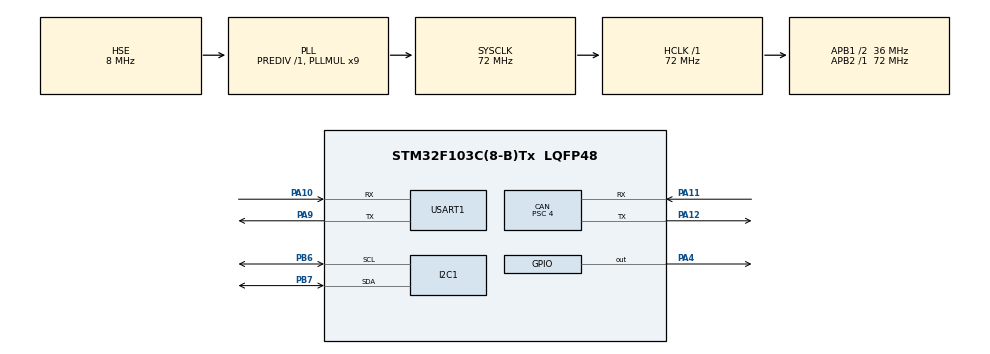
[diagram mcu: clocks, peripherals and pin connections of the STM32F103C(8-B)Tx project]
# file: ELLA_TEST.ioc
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CAN.BS1=CAN_BS1_15TQ
CAN.BS2=CAN_BS2_2TQ
CAN.CalculateBaudRate=500000
CAN.CalculateTimeBit=2000
CAN.CalculateTimeQuantum=111.11111111111111
CAN.Mode=CAN_MODE_NORMAL
CAN.NART=ENABLE
CAN.Prescaler=4
Mcu.Family=STM32F1
Mcu.Name=STM32F103C(8-B)Tx
Mcu.Package=LQFP48
NVIC.PriorityGroup=NVIC_PRIORITYGROUP_4
NVIC.USB_LP_CAN1_RX0_IRQn=true\:0\:0\:false\:false\:true\:true\:true\:true
PA10.Mode=Asynchronous
PA10.Signal=USART1_RX
PA11.Mode=CAN_Activate
PA11.Signal=CAN_RX
PA12.Mode=CAN_Activate
PA12.Signal=CAN_TX
PA13.Mode=Serial_Wire
PA13.Signal=SYS_JTMS-SWDIO
PA14.Mode=Serial_Wire
PA14.Signal=SYS_JTCK-SWCLK
PA4.Signal=GPIO_Output
PA9.Mode=Asynchronous
PA9.Signal=USART1_TX
PB10.Signal=I2C2_SCL
PB11.Signal=I2C2_SDA
PB6.Mode=I2C
PB6.Signal=I2C1_SCL
PB7.Mode=I2C
PB7.Signal=I2C1_SDA
PD0-OSC_IN.Mode=HSE-External-Oscillator
PD0-OSC_IN.Signal=RCC_OSC_IN
PD1-OSC_OUT.Mode=HSE-External-Oscillator
PD1-OSC_OUT.Signal=RCC_OSC_OUT
ProjectManager.HeapSize=0x200
ProjectManager.StackSize=0x400
ProjectManager.TargetToolchain=STM32CubeIDE
RCC.AHBFreq_Value=72000000
RCC.APB1CLKDivider=RCC_HCLK_DIV2
RCC.APB1Freq_Value=36000000
RCC.APB1TimFreq_Value=72000000
RCC.APB2Freq_Value=72000000
RCC.APB2TimFreq_Value=72000000
RCC.HCLKFreq_Value=72000000
RCC.PLLMUL=RCC_PLL_MUL9
RCC.PLLSourceVirtual=RCC_PLLSOURCE_HSE
RCC.SYSCLKFreq_VALUE=72000000
RCC.SYSCLKSource=RCC_SYSCLKSOURCE_PLLCLK
RCC.USBFreq_Value=72000000
USART1.VirtualMode=VM_ASYNC
board=custom

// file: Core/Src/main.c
/* USER CODE BEGIN Header */
/**
 ******************************************************************************
 * @file           : main.c
 * @brief          : Main program body
 ******************************************************************************
 * @attention
 *
 * Copyright (c) 2025 STMicroelectronics.
 * All rights reserved.
 *
 * This software is licensed under terms that can be found in the LICENSE file
 * in the root directory of this software component.
 * If no LICENSE file comes with this software, it is provided AS-IS.
 *
 ******************************************************************************
 */
/* USER CODE END Header */
#include "main.h"

/* USER CODE BEGIN Includes */
#include <string.h>
#include <stdio.h>
#include "MS4525DO.h"
/* USER CODE END Includes */

/* USER CODE BEGIN PD */
#define VERBOSE_MODE_EN
#define MCU_LED GPIOA, GPIO_PIN_4
/* USER CODE END PD */

CAN_HandleTypeDef hcan;

I2C_HandleTypeDef hi2c1;

UART_HandleTypeDef huart1;

/* USER CODE BEGIN PV */
CAN_TxHeaderTypeDef   TxHeader;
uint8_t               TxData[8];
uint32_t              TxMailbox;
/* USER CODE END PV */

void SystemClock_Config(void);
static void MX_GPIO_Init(void);
static void MX_CAN_Init(void);
static void MX_I2C1_Init(void);
static void MX_USART1_UART_Init(void);
/* USER CODE BEGIN PFP */
void I2C_Scan();
void HAL_CAN_RxFifo0MsgPendingCallback(CAN_HandleTypeDef *hcan);
/* USER CODE END PFP */

int main(void)
{

  /* MCU Configuration--------------------------------------------------------*/

  /* Reset of all peripherals, Initializes the Flash interface and the Systick. */
  HAL_Init();

  /* Configure the system clock */
  SystemClock_Config();

  /* Initialize all configured peripherals */
  MX_GPIO_Init();
  MX_CAN_Init();
  MX_I2C1_Init();
  MX_USART1_UART_Init();
  /* USER CODE BEGIN 2 */
  //printf("Initializing....\r\n");
  //struct MS4525DO_t MS4525DO;
  //MS4525DO_Initialize(&MS4525DO, &hi2c1, &hcan, &TxHeader);
  //printf("Initialized!\r\n");

  TxHeader.IDE = CAN_ID_STD;
  TxHeader.StdId = 0x123;  // Message ID
  TxHeader.RTR = CAN_RTR_DATA;
  TxHeader.DLC = 2;  // 2 bytes of data

  TxData[0] = 69;
  TxData[1] = 0xAA;

  // Start CAN
  if (HAL_CAN_Start(&hcan) != HAL_OK) {
	  printf("❌ Error starting CAN\r\n");
      Error_Handler();
  }

  // Enable interrupt for receiving messages
  HAL_CAN_ActivateNotification(&hcan, CAN_IT_RX_FIFO0_MSG_PENDING);

  printf("✅ CAN Initialized\r\n");
  /* USER CODE END 2 */

  /* Infinite loop */
  /* USER CODE BEGIN WHILE */
	while (1) {
		//printf("Reading sensor data....\r\n");
		//read_MS4525DO(&MS4525DO);
		//int airspeed_scaled = (int)(MS4525DO.processed_data.airspeed_mps * 100);  // Store value * 100
		//printf("Airspeed: %d.%02d m/s\r\n", airspeed_scaled / 100, airspeed_scaled % 100); //not a good way to print
		//HAL_Delay(1000);
		HAL_GPIO_TogglePin(MCU_LED);

		printf("Free Mailboxes: %d\r\n", HAL_CAN_GetTxMailboxesFreeLevel(&hcan));

		//SET TRUE FOR SENDING
		if (1==0){
			if (HAL_CAN_AddTxMessage(&hcan, &TxHeader, TxData, &TxMailbox) != HAL_OK) {
				printf("❌ Error sending CAN message\r\n");
				Error_Handler();
			} else {
				printf("✅ CAN message sent: ID=0x%lX, Data=%d %02X\r\n", TxHeader.StdId, TxData[0], TxData[1]);
			}
		}

        HAL_Delay(1000);  // 1 second delay

	  //txCAN(&MS4525DO);
		//printf("Yummlly\r\n");
    /* USER CODE END WHILE */

	}
}

void SystemClock_Config(void)
{
  RCC_OscInitTypeDef RCC_OscInitStruct = {0};
  RCC_ClkInitTypeDef RCC_ClkInitStruct = {0};

  /** Initializes the RCC Oscillators according to the specified parameters
  * in the RCC_OscInitTypeDef structure.
  */
  RCC_OscInitStruct.OscillatorType = RCC_OSCILLATORTYPE_HSE;
  RCC_OscInitStruct.HSEState = RCC_HSE_ON;
  RCC_OscInitStruct.HSEPredivValue = RCC_HSE_PREDIV_DIV1;
  RCC_OscInitStruct.HSIState = RCC_HSI_ON;
  RCC_OscInitStruct.PLL.PLLState = RCC_PLL_ON;
  RCC_OscInitStruct.PLL.PLLSource = RCC_PLLSOURCE_HSE;
  RCC_OscInitStruct.PLL.PLLMUL = RCC_PLL_MUL9;
  if (HAL_RCC_OscConfig(&RCC_OscInitStruct) != HAL_OK)
  {
    Error_Handler();
  }

  /** Initializes the CPU, AHB and APB buses clocks
  */
  RCC_ClkInitStruct.ClockType = RCC_CLOCKTYPE_HCLK|RCC_CLOCKTYPE_SYSCLK
                              |RCC_CLOCKTYPE_PCLK1|RCC_CLOCKTYPE_PCLK2;
  RCC_ClkInitStruct.SYSCLKSource = RCC_SYSCLKSOURCE_PLLCLK;
  RCC_ClkInitStruct.AHBCLKDivider = RCC_SYSCLK_DIV1;
  RCC_ClkInitStruct.APB1CLKDivider = RCC_HCLK_DIV2;
  RCC_ClkInitStruct.APB2CLKDivider = RCC_HCLK_DIV1;

  if (HAL_RCC_ClockConfig(&RCC_ClkInitStruct, FLASH_LATENCY_2) != HAL_OK)
  {
    Error_Handler();
  }
}

static void MX_CAN_Init(void)
{

  hcan.Instance = CAN1;
  hcan.Init.Prescaler = 4;
  hcan.Init.Mode = CAN_MODE_NORMAL;
  hcan.Init.SyncJumpWidth = CAN_SJW_1TQ;
  hcan.Init.TimeSeg1 = CAN_BS1_15TQ;
  hcan.Init.TimeSeg2 = CAN_BS2_2TQ;
  hcan.Init.TimeTriggeredMode = DISABLE;
  hcan.Init.AutoBusOff = DISABLE;
  hcan.Init.AutoWakeUp = DISABLE;
  hcan.Init.AutoRetransmission = ENABLE;
  hcan.Init.ReceiveFifoLocked = DISABLE;
  hcan.Init.TransmitFifoPriority = DISABLE;
  if (HAL_CAN_Init(&hcan) != HAL_OK)
  {
    Error_Handler();
  }
  /* USER CODE BEGIN CAN_Init 2 */
  //ADD FUCKING FILTER TO ACCEPT ALL
  CAN_FilterTypeDef canFilter;

  canFilter.FilterBank = 0;  // Use filter bank 0
  canFilter.FilterMode = CAN_FILTERMODE_IDMASK;  // Mask mode (accept based on ID mask)
  canFilter.FilterScale = CAN_FILTERSCALE_32BIT;  // Use 32-bit filter
  canFilter.FilterIdHigh = 0x0000;  // Accept all CAN IDs
  canFilter.FilterIdLow = 0x0000;
  canFilter.FilterMaskIdHigh = 0x0000;  // Mask everything (no filtering)
  canFilter.FilterMaskIdLow = 0x0000;
  canFilter.FilterFIFOAssignment = CAN_RX_FIFO0;  // Send accepted messages to FIFO0
  canFilter.FilterActivation = ENABLE;  // Enable the filter

  if (HAL_CAN_ConfigFilter(&hcan, &canFilter) != HAL_OK) {
      printf("❌ Error setting CAN filter!\r\n");
      Error_Handler();
  }
  /* USER CODE END CAN_Init 2 */

}

static void MX_I2C1_Init(void)
{

  hi2c1.Instance = I2C1;
  hi2c1.Init.ClockSpeed = 100000;
  hi2c1.Init.DutyCycle = I2C_DUTYCYCLE_2;
  hi2c1.Init.OwnAddress1 = 0;
  hi2c1.Init.AddressingMode = I2C_ADDRESSINGMODE_7BIT;
  hi2c1.Init.DualAddressMode = I2C_DUALADDRESS_DISABLE;
  hi2c1.Init.OwnAddress2 = 0;
  hi2c1.Init.GeneralCallMode = I2C_GENERALCALL_DISABLE;
  hi2c1.Init.NoStretchMode = I2C_NOSTRETCH_DISABLE;
  if (HAL_I2C_Init(&hi2c1) != HAL_OK)
  {
    Error_Handler();
  }

}

static void MX_USART1_UART_Init(void)
{

  huart1.Instance = USART1;
  huart1.Init.BaudRate = 115200;
  huart1.Init.WordLength = UART_WORDLENGTH_8B;
  huart1.Init.StopBits = UART_STOPBITS_1;
  huart1.Init.Parity = UART_PARITY_NONE;
  huart1.Init.Mode = UART_MODE_TX_RX;
  huart1.Init.HwFlowCtl = UART_HWCONTROL_NONE;
  huart1.Init.OverSampling = UART_OVERSAMPLING_16;
  if (HAL_UART_Init(&huart1) != HAL_OK)
  {
    Error_Handler();
  }

}

static void MX_GPIO_Init(void)
{
  GPIO_InitTypeDef GPIO_InitStruct = {0};

  /* GPIO Ports Clock Enable */
  __HAL_RCC_GPIOD_CLK_ENABLE();
  __HAL_RCC_GPIOA_CLK_ENABLE();
  __HAL_RCC_GPIOB_CLK_ENABLE();

  /*Configure GPIO pin Output Level */
  HAL_GPIO_WritePin(GPIOA, GPIO_PIN_4, GPIO_PIN_RESET);

  /*Configure GPIO pin : PA4 */
  GPIO_InitStruct.Pin = GPIO_PIN_4;
  GPIO_InitStruct.Mode = GPIO_MODE_OUTPUT_PP;
  GPIO_InitStruct.Pull = GPIO_NOPULL;
  GPIO_InitStruct.Speed = GPIO_SPEED_FREQ_LOW;
  HAL_GPIO_Init(GPIOA, &GPIO_InitStruct);

  /*Configure GPIO pins : PB10 PB11 */
  GPIO_InitStruct.Pin = GPIO_PIN_10|GPIO_PIN_11;
  GPIO_InitStruct.Mode = GPIO_MODE_AF_OD;
  GPIO_InitStruct.Speed = GPIO_SPEED_FREQ_HIGH;
  HAL_GPIO_Init(GPIOB, &GPIO_InitStruct);

}

/* USER CODE BEGIN 4 */

void I2C_Scan() {
    printf("Scanning I2C bus...\r\n");

    for (uint8_t i = 1; i < 128; i++) {  // I2C addresses range from 0x01 to 0x7F
        if (HAL_I2C_IsDeviceReady(&hi2c1, i << 1, 3, HAL_MAX_DELAY) == HAL_OK) {
            printf("I2C Device Found at 0x%02X\r\n", i);
        }
    }
    printf("I2C scan complete.\r\n");
}

void HAL_CAN_RxFifo0MsgPendingCallback(CAN_HandleTypeDef *hcan) {
    CAN_RxHeaderTypeDef RxHeader;
    uint8_t RxData[8];

    // Receive the CAN message
    if (HAL_CAN_GetRxMessage(hcan, CAN_RX_FIFO0, &RxHeader, RxData) == HAL_OK) {
        printf("📩 Received CAN Message: ID=0x%lX, Data=", (unsigned long)RxHeader.StdId);

        // Print each byte in the message
        for (int i = 0; i < RxHeader.DLC; i++) {
            printf("%02X ", RxData[i]);
        }
        printf("\r\n");
    } else {
        printf("❌ Error receiving CAN message!\r\n");
    }
}

/* USER CODE END 4 */

void Error_Handler(void)
{
	__disable_irq();
	while (1) {
	}
}
